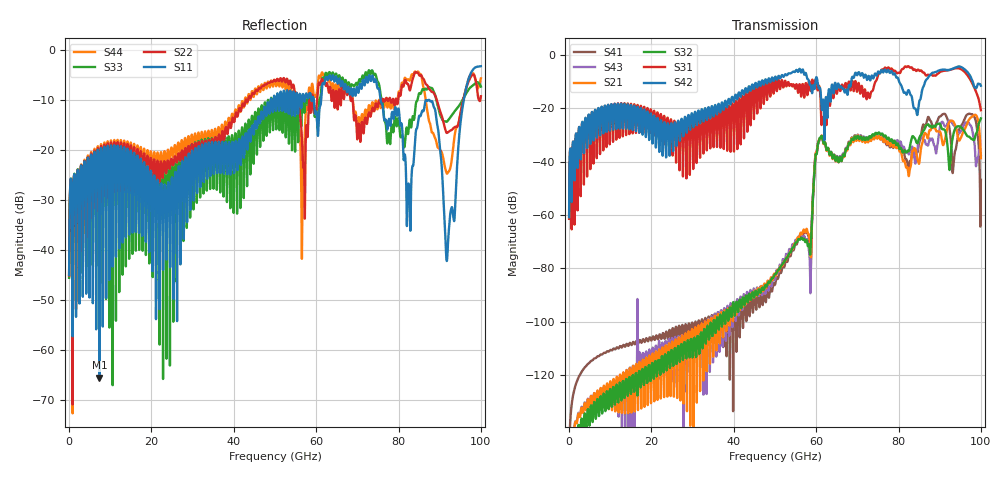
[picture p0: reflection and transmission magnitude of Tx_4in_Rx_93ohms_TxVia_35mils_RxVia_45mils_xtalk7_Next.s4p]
! Info: Touchstone file created by Circ.  Input file=Tx_4in_Rx_93ohms_TxVia_35mils_RxVia_45mils.circ
# Hz S RI R 50
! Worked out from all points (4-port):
!   10000 points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, 10 MHz to 100 GHz, reference 50 ohm
!   strongest paths, dB at 10 MHz, 25.01 GHz, 50.01 GHz, 75.01 GHz, 100 GHz:
!     S42: -60.8, -27.6, -8.4, -6.4, -11.6
!     S31: -61.5, -29.7, -9.7, -7.7, -20.8
!     S32: -179.7, -111.1, -82.1, -29.5, -23.9
!     S21: -175.1, -107.5, -82.4, -30.9, -38.7
!     S43: -174.7, -106.1, -84.2, -29.6, -37.6
!     S41: -161.9, -103.6, -86.1, -30.9, -46.9
!   lowest |S11| = -65.5 dB at 7.38 GHz (marker M1), VSWR 1.00, Z = 50 - j0.0387 ohm
!   |S11| at or under -10 dB: start of sweep to 48.96 GHz; 59.42 GHz to 61.21 GHz (1.794 GHz wide, 2.97 % of centre); 75.64 GHz to 95.85 GHz (20.21 GHz wide, 23.6 % of centre) (the widest 3 of 15)
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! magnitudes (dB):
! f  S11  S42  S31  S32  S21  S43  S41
! 10 MHz  -45.0  -60.8  -61.5  -179.7  -175.1  -174.7  -161.9
! 7.38 GHz  -65.5  -24.4  -25.5  -132.9  -130.6  -129.8  -112.7
! 58.35 GHz  -8.8  -10.7  -10.3  -72.2  -68.3  -74.5  -70.2
! 60.91 GHz  -11.3  -12.4  -13.2  -31.1  -31.2  -31.3  -31.4
! 73.3 GHz  -6.2  -8.6  -14.0  -31.1  -32.3  -30.7  -31.8
! 91.78 GHz  -42.0  -5.8  -5.9  -32.6  -28.0  -26.1  -23.7
! 100 GHz  -3.3  -11.6  -20.8  -23.9  -38.7  -37.6  -46.9
